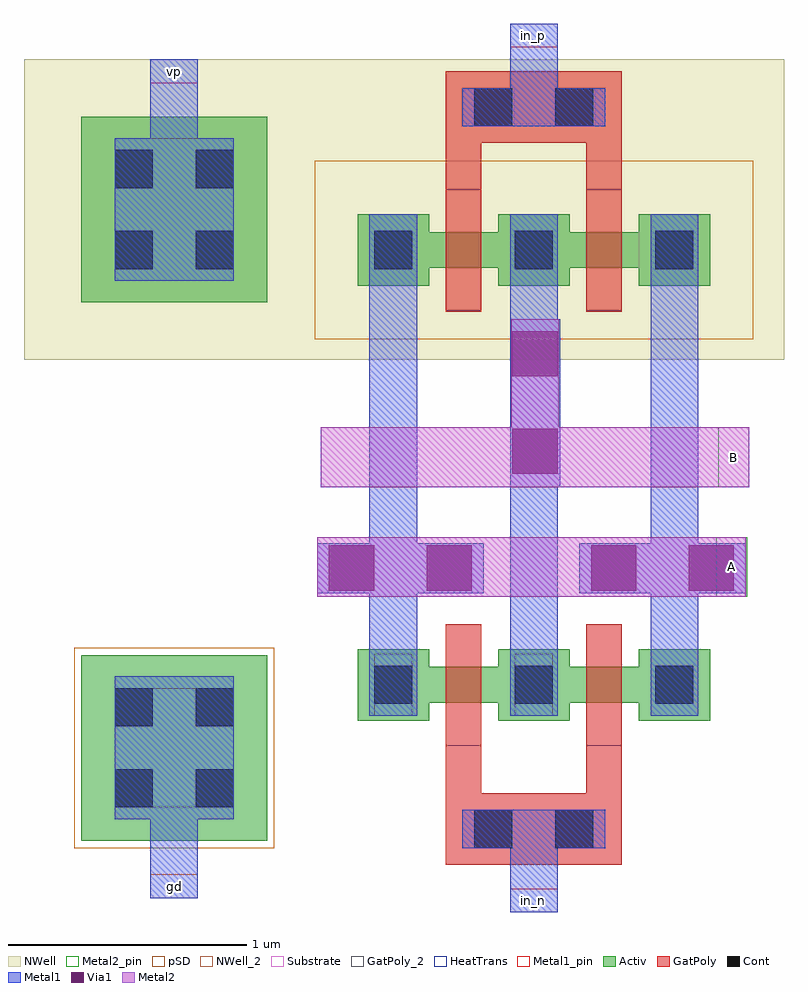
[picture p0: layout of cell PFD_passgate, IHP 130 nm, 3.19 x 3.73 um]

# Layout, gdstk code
import gdstk
lib = gdstk.Library(unit=1e-6, precision=1e-09)
def R(c, l, rs):  # rectangles x0, y0, x1, y1
    for r in rs: c.add(gdstk.rectangle(r[:2], r[2:], *l))
def A(c, l, x, y, w, h, nx, ny, dx, dy):  # array of equal rectangles
    R(c, l, [(x+i*dx, y+j*dy, x+i*dx+w, y+j*dy+h) for i in range(nx) for j in range(ny)])
Activ = (1, 0)
GatPoly = (5, 0)
GatPoly_2 = (5, 2)
Cont = (6, 0)
Metal1 = (8, 0)
Metal1_pin = (8, 2)
Metal2 = (10, 0)
Metal2_pin = (10, 2)
pSD = (14, 0)
Via1 = (19, 0)
NWell = (31, 0)
NWell_2 = (31, 2)
Substrate = (40, 0)
HeatTrans = (51, 0)

pmos = lib.new_cell('pmos')
A(pmos, Activ, 0, 0, 0.3, 0.3, 3, 1, 0.59, 0)
R(pmos, Activ, [(0,0.075,1.48,0.225)])
R(pmos, GatPoly, [(0.37,-0.105,0.52,0.405), (0.37,-0.105,0.52,0.405), (0.96,-0.105,1.11,0.405)])
A(pmos, Cont, 0.07, 0.07, 0.16, 0.16, 3, 1, 0.59, 0)
R(pmos, Metal1, [(0.07,0.02,0.23,0.28), (0.07,0.02,0.23,0.28), (0.66,0.02,0.82,0.28), (0.66,0.02,0.82,0.28), (1.25,0.02,1.41,0.28)])
R(pmos, pSD, [(-0.18,-0.225,1.66,0.525)])
R(pmos, NWell, [(-0.31,-0.31,1.79,0.61)])
R(pmos, Substrate, [(1.18,0,1.48,0.3)])
R(pmos, HeatTrans, [(0.37,-0.105,0.52,0.405), (0.96,-0.105,1.11,0.405)])
pmos.add(gdstk.Label('pmos', (0.445,0.15), layer=63, texttype=0))
pmos.add(gdstk.Label('pmos', (0.445,0.15), layer=51, texttype=0))
pmos.add(gdstk.Label('pmos', (1.035,0.15), layer=51, texttype=0))

via_2 = lib.new_cell('Via$2')
R(via_2, Metal1, [(-0.35,-0.105,0.35,0.105)])
R(via_2, Metal2, [(-0.35,-0.1,0.35,0.1)])
R(via_2, Via1, [(-0.3,-0.095,-0.11,0.095), (0.11,-0.095,0.3,0.095)])

via = lib.new_cell('Via')
R(via, GatPoly, [(-0.32,-0.15,0.32,0.15)])
R(via, Cont, [(-0.25,-0.08,-0.09,0.08), (0.09,-0.08,0.25,0.08)])
R(via, Metal1, [(-0.3,-0.08,0.3,0.08)])

nmos = lib.new_cell('nmos')
A(nmos, Activ, 0, 0, 0.3, 0.3, 3, 1, 0.59, 0)
R(nmos, Activ, [(0,0.075,1.48,0.225)])
R(nmos, GatPoly, [(0.37,-0.105,0.52,0.405), (0.96,-0.105,1.11,0.405)])
R(nmos, GatPoly_2, [(0.37,-0.105,0.52,0.405)])
A(nmos, Cont, 0.07, 0.07, 0.16, 0.16, 3, 1, 0.59, 0)
A(nmos, Metal1, 0.07, 0.02, 0.16, 0.26, 3, 1, 0.59, 0)
R(nmos, Metal1_pin, [(0.07,0.02,0.23,0.28), (0.66,0.02,0.82,0.28)])
R(nmos, HeatTrans, [(0.37,-0.105,0.52,0.405), (0.96,-0.105,1.11,0.405)])
nmos.add(gdstk.Label('nmos', (0.445,0.15), layer=63, texttype=0))
nmos.add(gdstk.Label('nmos', (0.445,0.15), layer=51, texttype=0))
nmos.add(gdstk.Label('nmos', (1.035,0.15), layer=51, texttype=0))

via_4 = lib.new_cell('Via$4')
R(via_4, Metal1, [(-0.105,-0.35,0.105,0.35)])
R(via_4, Metal2, [(-0.1,-0.35,0.1,0.35)])
R(via_4, Via1, [(-0.095,-0.3,0.095,-0.11), (-0.095,0.11,0.095,0.3)])

ptap1 = lib.new_cell('ptap1')
R(ptap1, Activ, [(0,0,0.78,0.78)])
R(ptap1, Cont, [(0.14,0.14,0.3,0.3), (0.48,0.14,0.64,0.3), (0.14,0.48,0.3,0.64), (0.48,0.48,0.64,0.64)])
R(ptap1, Metal1, [(0.14,0.09,0.64,0.69), (0.14,0.14,0.64,0.64)])
R(ptap1, Metal1_pin, [(0.14,0.14,0.64,0.64)])
R(ptap1, pSD, [(-0.03,-0.03,0.81,0.81)])
R(ptap1, Substrate, [(0,0,0.78,0.78)])
ptap1.add(gdstk.Label('sub!', (0.39,0.01), layer=63, texttype=0))
ptap1.add(gdstk.Label('sub!', (0.39,0.01), layer=40, texttype=0))

ntap1 = lib.new_cell('ntap1')
R(ntap1, Activ, [(0,0,0.78,0.78)])
R(ntap1, Cont, [(0.14,0.14,0.3,0.3), (0.48,0.14,0.64,0.3), (0.14,0.48,0.3,0.64), (0.48,0.48,0.64,0.64)])
R(ntap1, Metal1, [(0.14,0.09,0.64,0.69)])
R(ntap1, Metal1_pin, [(0.14,0.09,0.64,0.69), (0.14,0.14,0.64,0.64)])
R(ntap1, NWell, [(-0.24,-0.24,1.02,1.02), (0,0,0.78,0.78)])
R(ntap1, NWell_2, [(0,0,0.78,0.78)])
ntap1.add(gdstk.Label('well', (0.39,0.01), layer=63, texttype=0))
ntap1.add(gdstk.Label('well', (0.39,0.01), layer=31, texttype=0))

pfd_passgate = lib.new_cell('PFD_passgate')
R(pfd_passgate, GatPoly, [(-0.05,-0.8,0.69,-0.5), (-0.05,-0.5,0.1,0.21), (0.54,-0.5,0.69,0.21), (-0.05,1.52,0.1,2.23), (0.54,1.52,0.69,2.23), (-0.05,2.23,0.69,2.53)])
R(pfd_passgate, Metal1_pin, [(0.22,-1,0.42,-0.9), (-1.29,-0.94,-1.09,-0.84), (-1.29,2.48,-1.09,2.58), (0.22,2.63,0.42,2.73)])
R(pfd_passgate, Metal2_pin, [(1.085,0.325,1.215,0.575), (1.095,0.785,1.225,1.035)])
R(pfd_passgate, NWell, [(-1.82,1.32,1.37,2.58)])
pfd_passgate.add(gdstk.FlexPath([(0.91,-0.175),(0.91,0.43)], 0.2, ends="flush", simple_path=True, layer=8, datatype=0))  # Metal1
pfd_passgate.add(gdstk.FlexPath([(-0.27,-0.175),(-0.27,0.43),(-0.27,0.43)], 0.2, ends="flush", simple_path=True, layer=8, datatype=0))  # Metal1
pfd_passgate.add(gdstk.FlexPath([(0.32,-0.175),(0.32,1.035),(0.32,1.035)], 0.2, ends="flush", simple_path=True, layer=8, datatype=0))  # Metal1
pfd_passgate.add(gdstk.FlexPath([(0.32,1.035),(0.32,1.93)], 0.2, ends="flush", simple_path=True, layer=8, datatype=0))  # Metal1
pfd_passgate.add(gdstk.FlexPath([(-0.27,1.93),(-0.27,0.785)], 0.2, ends="flush", simple_path=True, layer=8, datatype=0))  # Metal1
pfd_passgate.add(gdstk.FlexPath([(0.91,1.93),(0.91,0.785),(0.91,0.785)], 0.2, ends="flush", simple_path=True, layer=8, datatype=0))  # Metal1
pfd_passgate.add(gdstk.FlexPath([(-0.27,1.19),(-0.27,0.16)], 0.2, ends="flush", simple_path=True, layer=8, datatype=0))  # Metal1
pfd_passgate.add(gdstk.FlexPath([(0.91,1.13),(0.91,0.18)], 0.2, ends="flush", simple_path=True, layer=8, datatype=0))  # Metal1
pfd_passgate.add(gdstk.FlexPath([(0.32,-1),(0.32,-0.57),(0.32,-0.57)], 0.2, ends="flush", simple_path=True, layer=8, datatype=0))  # Metal1
pfd_passgate.add(gdstk.FlexPath([(0.32,2.73),(0.32,2.3)], 0.2, ends="flush", simple_path=True, layer=8, datatype=0))  # Metal1
pfd_passgate.add(gdstk.FlexPath([(-1.19,2.25),(-1.19,2.58)], 0.2, ends="flush", simple_path=True, layer=8, datatype=0))  # Metal1
pfd_passgate.add(gdstk.FlexPath([(-1.19,-0.94),(-1.19,-0.61)], 0.2, ends="flush", simple_path=True, layer=8, datatype=0))  # Metal1
pfd_passgate.add(gdstk.FlexPath([(-0.59,0.45),(1.21,0.45)], 0.25, ends="flush", simple_path=True, layer=10, datatype=0))  # Metal2
pfd_passgate.add(gdstk.FlexPath([(-0.575,0.91),(1.225,0.91)], 0.25, ends="flush", simple_path=True, layer=10, datatype=0))  # Metal2
pfd_passgate.add(gdstk.Reference(pmos, (-0.42,1.63)))
pfd_passgate.add(gdstk.Reference(via_2, (0.86,0.445)))
pfd_passgate.add(gdstk.Reference(via_2, (-0.24,0.445)))
pfd_passgate.add(gdstk.Reference(via, (0.32,-0.65)))
pfd_passgate.add(gdstk.Reference(nmos, (-0.42,-0.195)))
pfd_passgate.add(gdstk.Reference(via, (0.32,2.38)))
pfd_passgate.add(gdstk.Reference(via_4, (0.325,1.14)))
pfd_passgate.add(gdstk.Reference(ptap1, (-1.58,-0.7)))
pfd_passgate.add(gdstk.Reference(ntap1, (-1.58,1.56)))
pfd_passgate.add(gdstk.Label('B', (1.16,0.91), layer=10, texttype=25))
pfd_passgate.add(gdstk.Label('A', (1.15,0.45), layer=10, texttype=25))
pfd_passgate.add(gdstk.Label('in_n', (0.32,-0.95), layer=8, texttype=25))
pfd_passgate.add(gdstk.Label('in_p', (0.32,2.68), layer=8, texttype=25))
pfd_passgate.add(gdstk.Label('gd', (-1.19,-0.89), layer=8, texttype=25))
pfd_passgate.add(gdstk.Label('vp', (-1.19,2.53), layer=8, texttype=25))

lib.write_gds('PFD_passgate.gds')
